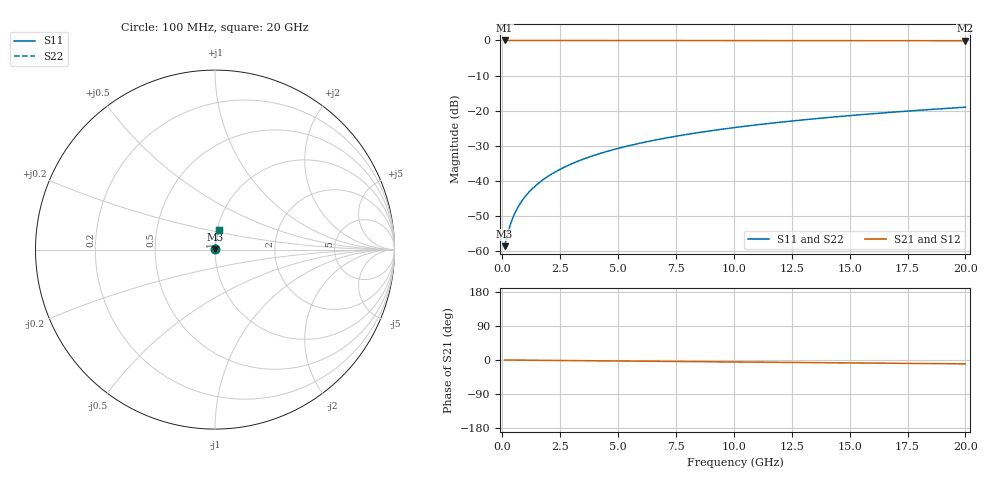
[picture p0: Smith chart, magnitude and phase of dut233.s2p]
! Touchstone file exported from HFSS 2026.1.0
!  File:  C:/ffzhzh/LocalFiles/Ansys_Project_Files/temp_train_TMRDL_233_1782984527_41620.aedt
!  Generated:  05:30:01 PM Jul  2, 2026
!  Design:  TMRDL
!  Project:  temp_train_TMRDL_233_1782984527_41620
! Variables:
!  h_bsmrdl = 2um
!  h_ox = 20um
!  h_rdl = 5um
!  h_sub = 80um
!  h_tmrdl = 2.99um
!  h_tsv = 80um
!  h_via = 3um
!  l_bsmrdl = 300um
!  l_sub = 509.85um
!  l_tmrdl = 109.85um
!  m_sub = 200um
!  pitch = 41.08um
!  r_tsv = 6um
!  s_tmrdl = 10um
!  w_bsmrdl = 18um
!  w_sub = 500um
!  w_tmrdl = 17.77um
!  x_tsv_center1 = 118.735um
!  x_tsv_center2 = 436.735um
!  x_tsv_center3 = 564.355um
!  x_tsv_center4 = 882.355um
!  x_tsv_center5 = 1009.975um
!  x_tsv_center6 = 1327.975um
# GHz S MA R 50.000000
! Terminal data exported
! Port[1] = TM_RDL1_1_T1
! Port[2] = TM_RDL1_1_T2
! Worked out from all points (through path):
!   200 points, 100 MHz to 20 GHz, reference 50 ohm
!   highest |S21| = -0.01 dB at 100 MHz (marker M1); lowest = -0.1 dB at 20 GHz (marker M2)
!   group delay of S21, straight-line fit = 1.41 ps
!   lowest |S11| = -58.7 dB at 100 MHz (marker M3), VSWR 1.00, Z = 50.1 + j0.0625 ohm
!   |S11| at or under -10 dB: start of sweep to end of sweep
!   |S22| runs from -58.7 to -19.0 dB; largest |S21 - S12| = 1.2e-15
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0.1  0.001167 32.3  0.999 -0.1  0.999 -0.1  0.001167 32.3
! Gamma 0 0 0 0
! Port Impedance 50 0 50 0
0.2  0.001599 50.8  0.999 -0.1  0.999 -0.1  0.001599 50.8
0.3  0.002118 60.5  0.999 -0.2  0.999 -0.2  0.002118 60.5
0.4  0.002663 66.1  0.9989 -0.2  0.9989 -0.2  0.002663 66.1
0.5  0.003216 69.8  0.9989 -0.3  0.9989 -0.3  0.003216 69.8
0.6  0.003772 72.4  0.9989 -0.3  0.9989 -0.3  0.003772 72.4
0.8  0.004891 75.9  0.9988 -0.4  0.9988 -0.4  0.004891 75.9
1.1  0.006581 78.9  0.9988 -0.6  0.9988 -0.6  0.006581 78.9
1.3  0.007714 80.2  0.9988 -0.7  0.9988 -0.7  0.007714 80.2
1.6  0.009422 81.6  0.9987 -0.8  0.9987 -0.8  0.009422 81.6
2.1  0.01228 82.9  0.9986 -1.1  0.9986 -1.1  0.01228 82.9
2.7  0.01572 83.8  0.9986 -1.4  0.9986 -1.4  0.01572 83.8
3.5  0.02031 84.2  0.9984 -1.8  0.9984 -1.8  0.02031 84.2
4.2  0.02432 84.4  0.9982 -2.2  0.9982 -2.2  0.02432 84.4
5  0.02889 84.3  0.998 -2.6  0.998 -2.6  0.02889 84.3
5.9  0.03402 84.1  0.9978 -3.1  0.9978 -3.1  0.03402 84.1
6.8  0.03913 83.9  0.9974 -3.5  0.9974 -3.5  0.03913 83.9
8.3  0.04759 83.3  0.9969 -4.3  0.9969 -4.3  0.04759 83.3
10.1  0.05767 82.6  0.9961 -5.2  0.9961 -5.2  0.05767 82.6
13.4  0.07595 81.1  0.9944 -6.9  0.9944 -6.9  0.07595 81.1
16.7  0.094 79.6  0.9925 -8.5  0.9925 -8.5  0.094 79.6
20  0.1118 78.1  0.9903 -10.2  0.9903 -10.2  0.1118 78.1
